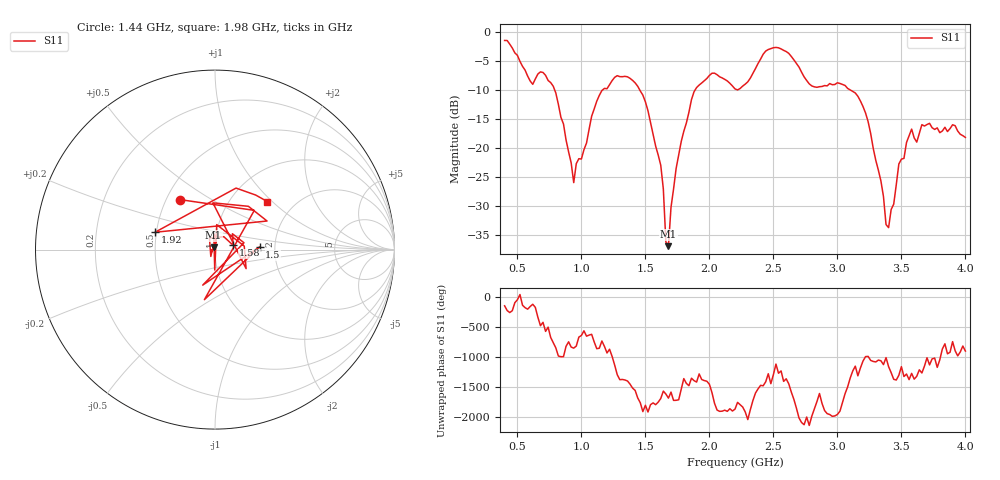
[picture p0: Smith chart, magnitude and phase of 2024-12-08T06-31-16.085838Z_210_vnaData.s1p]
!Created with skrf (http://scikit-rf.org).
# Hz S RI R 50.0
!freq ReS11 ImS11
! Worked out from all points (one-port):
!   181 points, 400 MHz to 4 GHz, reference 50 ohm
!   lowest |S11| = -36.8 dB at 1.68 GHz (marker M1), VSWR 1.03, Z = 49.2 + j1.2 ohm
!   |S11| at or under -10 dB: 790.8 MHz to 1.166 GHz (375.5 MHz wide, 38.4 % of centre); 1.455 GHz to 1.889 GHz (433.7 MHz wide, 25.9 % of centre); 3.099 GHz to end of sweep (the widest 3 of 4)
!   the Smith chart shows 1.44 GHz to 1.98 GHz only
!   S11 on the Smith chart (normalised r, x): 1.44 GHz: 0.59, +0.37; 1.5 GHz: 1.66, +0.06; 1.58 GHz: 1.22, +0.06; 1.92 GHz: 0.49, +0.11; 1.98 GHz: 1.47, +0.93
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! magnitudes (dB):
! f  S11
! 400 MHz  -1.5
! 620 MHz  -9.0
! 760 MHz  -8.8
! 860 MHz  -15.9
! 940 MHz  -25.9
! 1.12 GHz  -11.9
! 1.3 GHz  -7.7
! 1.44 GHz  -9.4
! 1.5 GHz  -12.1
! 1.58 GHz  -19.7
! 1.62 GHz  -23.0
! 1.64 GHz  -27.0
! 1.66 GHz  -36.1
! 1.68 GHz  -36.8
! 1.7 GHz  -30.2
! 1.76 GHz  -21.2
! 1.92 GHz  -9.2
! 1.98 GHz  -8.0
! 2.2 GHz  -9.8
! 2.46 GHz  -3.1
! 2.66 GHz  -4.8
! 2.8 GHz  -9.3
! 3.1 GHz  -10.0
! 3.24 GHz  -15.5
! 3.4 GHz  -33.7
! 3.48 GHz  -22.7
! 3.56 GHz  -17.9
! 4 GHz  -18.2
